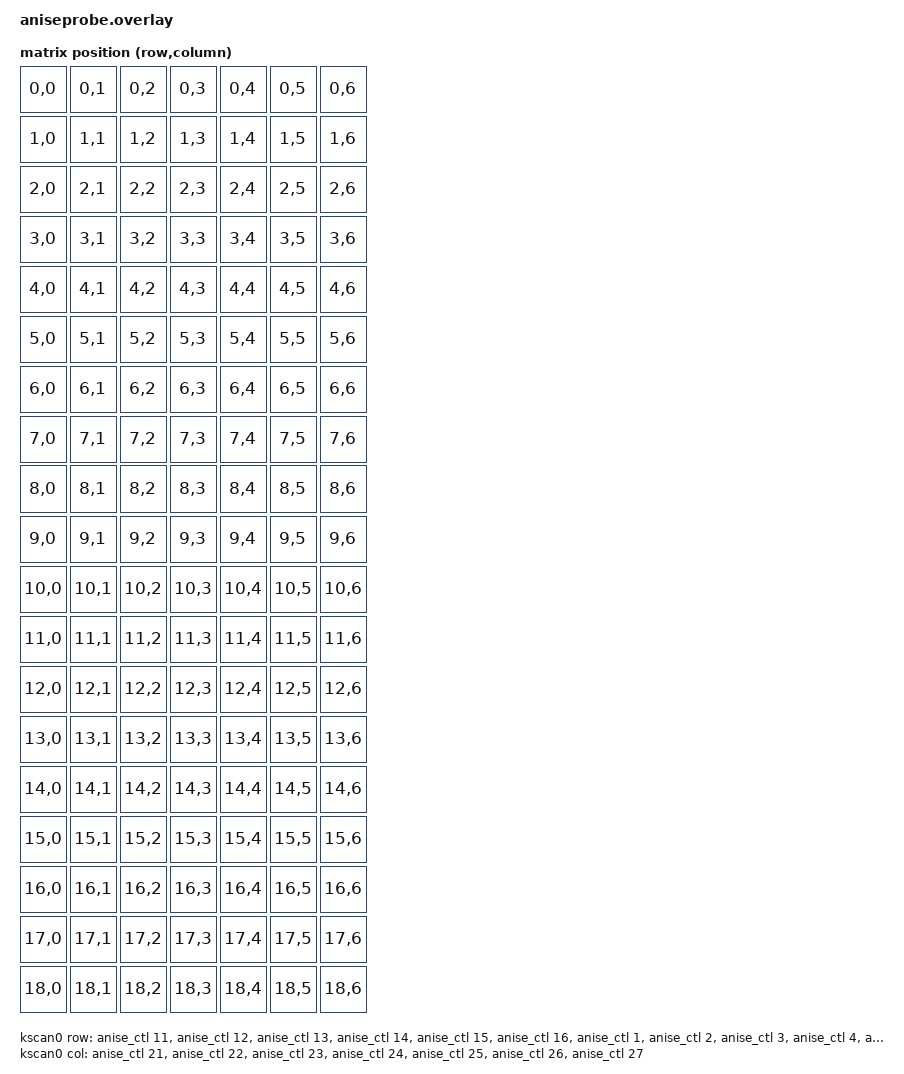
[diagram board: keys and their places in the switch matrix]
#include <dt-bindings/zmk/matrix_transform.h>

/*
 * Probe shield. Columns are the known-good 21..27; every other
 * connector pin is scanned as a row. Press a key and the log reports the row
 * index that fired -- map it back with the table below.
 *
// row index 0  = anise_ctl 11
// row index 1  = anise_ctl 12
// row index 2  = anise_ctl 13
// row index 3  = anise_ctl 14
// row index 4  = anise_ctl 15
// row index 5  = anise_ctl 16
// row index 6  = anise_ctl 1
// row index 7  = anise_ctl 2
// row index 8  = anise_ctl 3
// row index 9  = anise_ctl 4
// row index 10 = anise_ctl 5
// row index 11 = anise_ctl 28
// row index 12 = anise_ctl 31
// row index 13 = anise_ctl 32
// row index 14 = anise_ctl 33
// row index 15 = anise_ctl 34
// row index 16 = anise_ctl 35
// row index 17 = anise_ctl 36
// row index 18 = anise_ctl 37
 */

/ {
    chosen {
        zmk,kscan = &kscan0;
        zmk,matrix_transform = &default_transform;
    };

    default_transform: keymap_transform_0 {
        compatible = "zmk,matrix-transform";
        columns = <7>;
        rows = <19>;
        map = <
RC(0,0) RC(0,1) RC(0,2) RC(0,3) RC(0,4) RC(0,5) RC(0,6)
RC(1,0) RC(1,1) RC(1,2) RC(1,3) RC(1,4) RC(1,5) RC(1,6)
RC(2,0) RC(2,1) RC(2,2) RC(2,3) RC(2,4) RC(2,5) RC(2,6)
RC(3,0) RC(3,1) RC(3,2) RC(3,3) RC(3,4) RC(3,5) RC(3,6)
RC(4,0) RC(4,1) RC(4,2) RC(4,3) RC(4,4) RC(4,5) RC(4,6)
RC(5,0) RC(5,1) RC(5,2) RC(5,3) RC(5,4) RC(5,5) RC(5,6)
RC(6,0) RC(6,1) RC(6,2) RC(6,3) RC(6,4) RC(6,5) RC(6,6)
RC(7,0) RC(7,1) RC(7,2) RC(7,3) RC(7,4) RC(7,5) RC(7,6)
RC(8,0) RC(8,1) RC(8,2) RC(8,3) RC(8,4) RC(8,5) RC(8,6)
RC(9,0) RC(9,1) RC(9,2) RC(9,3) RC(9,4) RC(9,5) RC(9,6)
RC(10,0) RC(10,1) RC(10,2) RC(10,3) RC(10,4) RC(10,5) RC(10,6)
RC(11,0) RC(11,1) RC(11,2) RC(11,3) RC(11,4) RC(11,5) RC(11,6)
RC(12,0) RC(12,1) RC(12,2) RC(12,3) RC(12,4) RC(12,5) RC(12,6)
RC(13,0) RC(13,1) RC(13,2) RC(13,3) RC(13,4) RC(13,5) RC(13,6)
RC(14,0) RC(14,1) RC(14,2) RC(14,3) RC(14,4) RC(14,5) RC(14,6)
RC(15,0) RC(15,1) RC(15,2) RC(15,3) RC(15,4) RC(15,5) RC(15,6)
RC(16,0) RC(16,1) RC(16,2) RC(16,3) RC(16,4) RC(16,5) RC(16,6)
RC(17,0) RC(17,1) RC(17,2) RC(17,3) RC(17,4) RC(17,5) RC(17,6)
RC(18,0) RC(18,1) RC(18,2) RC(18,3) RC(18,4) RC(18,5) RC(18,6)
        >;
    };

    kscan0: kscan {
        compatible = "zmk,kscan-gpio-matrix";
        label = "KSCAN";
        diode-direction = "col2row";

        col-gpios
            = <&anise_ctl 21 GPIO_ACTIVE_HIGH>
            , <&anise_ctl 22 GPIO_ACTIVE_HIGH>
            , <&anise_ctl 23 GPIO_ACTIVE_HIGH>
            , <&anise_ctl 24 GPIO_ACTIVE_HIGH>
            , <&anise_ctl 25 GPIO_ACTIVE_HIGH>
            , <&anise_ctl 26 GPIO_ACTIVE_HIGH>
            , <&anise_ctl 27 GPIO_ACTIVE_HIGH>
            ;

        row-gpios
            = <&anise_ctl 11 (GPIO_ACTIVE_HIGH | GPIO_PULL_DOWN)>
            , <&anise_ctl 12 (GPIO_ACTIVE_HIGH | GPIO_PULL_DOWN)>
            , <&anise_ctl 13 (GPIO_ACTIVE_HIGH | GPIO_PULL_DOWN)>
            , <&anise_ctl 14 (GPIO_ACTIVE_HIGH | GPIO_PULL_DOWN)>
            , <&anise_ctl 15 (GPIO_ACTIVE_HIGH | GPIO_PULL_DOWN)>
            , <&anise_ctl 16 (GPIO_ACTIVE_HIGH | GPIO_PULL_DOWN)>
            , <&anise_ctl 1 (GPIO_ACTIVE_HIGH | GPIO_PULL_DOWN)>
            , <&anise_ctl 2 (GPIO_ACTIVE_HIGH | GPIO_PULL_DOWN)>
            , <&anise_ctl 3 (GPIO_ACTIVE_HIGH | GPIO_PULL_DOWN)>
            , <&anise_ctl 4 (GPIO_ACTIVE_HIGH | GPIO_PULL_DOWN)>
            , <&anise_ctl 5 (GPIO_ACTIVE_HIGH | GPIO_PULL_DOWN)>
            , <&anise_ctl 28 (GPIO_ACTIVE_HIGH | GPIO_PULL_DOWN)>
            , <&anise_ctl 31 (GPIO_ACTIVE_HIGH | GPIO_PULL_DOWN)>
            , <&anise_ctl 32 (GPIO_ACTIVE_HIGH | GPIO_PULL_DOWN)>
            , <&anise_ctl 33 (GPIO_ACTIVE_HIGH | GPIO_PULL_DOWN)>
            , <&anise_ctl 34 (GPIO_ACTIVE_HIGH | GPIO_PULL_DOWN)>
            , <&anise_ctl 35 (GPIO_ACTIVE_HIGH | GPIO_PULL_DOWN)>
            , <&anise_ctl 36 (GPIO_ACTIVE_HIGH | GPIO_PULL_DOWN)>
            , <&anise_ctl 37 (GPIO_ACTIVE_HIGH | GPIO_PULL_DOWN)>
            ;
    };
};
